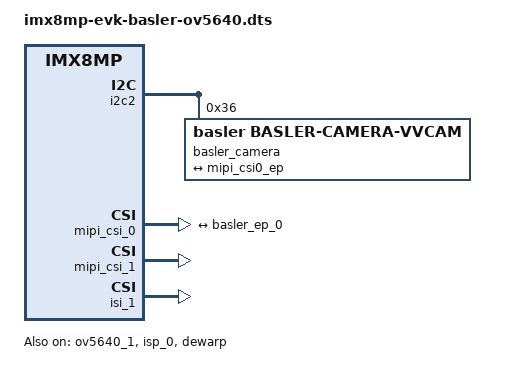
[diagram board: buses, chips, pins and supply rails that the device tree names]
// SPDX-License-Identifier: (GPL-2.0+ OR MIT)
/*
 * Copyright 2020 NXP
 *
 * This program is free software; you can redistribute it and/or
 * modify it under the terms of the GNU General Public License
 * as published by the Free Software Foundation; either version 2
 * of the License, or (at your option) any later version.
 *
 * This program is distributed in the hope that it will be useful,
 * but WITHOUT ANY WARRANTY; without even the implied warranty of
 * MERCHANTABILITY or FITNESS FOR A PARTICULAR PURPOSE.  See the
 * GNU General Public License for more details.
 */

#include "imx8mp-evk.dts"

&i2c2 {
	/delete-node/ov5640_mipi@3c;

	basler_camera@36 {
		compatible = "basler,basler-camera-vvcam", "basler-camera-vvcam";
		reg = <0x36>;
		csi_id = <0x00>;
		status = "okay";

		port {
			basler_ep_0: endpoint {
				data-lanes = <1 2 3 4>;
				clock-lanes = <0>;
				link-frequencies = /bits/ 64 <750000000>;

				max-lane-frequency = /bits/ 64 <750000000>;
				max-pixel-frequency = /bits/ 64 <266000000>;
				max-data-rate = /bits/ 64 <0>;

				remote-endpoint = <&mipi_csi0_ep>;
			};
		};
	};
};

&mipi_csi_0 {
	status = "okay";

	port@0 {
		mipi_csi0_ep: endpoint {
			remote-endpoint = <&basler_ep_0>;
			data-lanes = <4>;
			csis-hs-settle = <16>;
		};
	};
};

&mipi_csi_1 {
	status = "okay";
};

&ov5640_1 {
	powerdown-gpios = <&gpio2 11 GPIO_ACTIVE_HIGH>;
	reset-gpios = <&gpio1 6 GPIO_ACTIVE_LOW>;
	csi_id = <1>;

	status = "okay";
};

&isi_0 {
	status = "disabled";
};

&isi_1 {
	status = "okay";
};

&isp_0 {
	status = "okay";
};

&dewarp {
	status = "okay";
};
